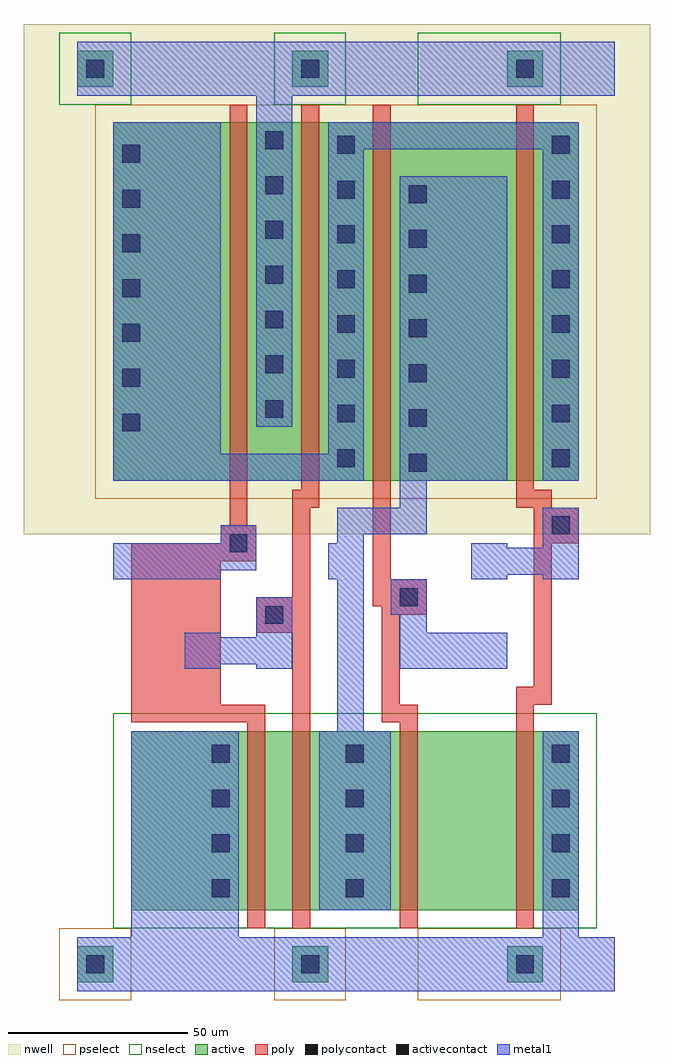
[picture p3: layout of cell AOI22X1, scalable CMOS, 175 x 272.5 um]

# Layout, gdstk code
import gdstk
lib = gdstk.Library(unit=1e-6, precision=1e-09)
def R(c, l, rs):  # rectangles x0, y0, x1, y1
    for r in rs: c.add(gdstk.rectangle(r[:2], r[2:], *l))
def A(c, l, x, y, w, h, nx, ny, dx, dy):  # array of equal rectangles
    R(c, l, [(x+i*dx, y+j*dy, x+i*dx+w, y+j*dy+h) for i in range(nx) for j in range(ny)])
nwell = (42, 0)
active = (43, 0)
pselect = (44, 0)
nselect = (45, 0)
poly = (46, 0)
polycontact = (47, 0)
activecontact = (48, 0)
metal1 = (49, 0)

aoi22x1 = lib.new_cell('AOI22X1')
R(aoi22x1, nwell, [(-20,120,155,262.5)])
A(aoi22x1, active, -5, -5, 10, 10, 3, 2, 60, 250)
R(aoi22x1, active, [(10,15,135,65), (5,135,135,235)])
R(aoi22x1, pselect, [(-10,-10,10,10), (50,-10,70,10), (90,-10,130,10), (0,130,140,240)])
R(aoi22x1, nselect, [(5,10,140,70), (-10,240,10,260), (50,240,70,260), (90,240,130,260)])
R(aoi22x1, poly, [(42.5,10,47.5,67.5), (55,10,60,92.5), (85,10,90,67.5), (117.5,10,122.5,72.5), (10,67.5,47.5,72.5), (80,67.5,90,72.5), (10,72.5,35,112.5), (80,72.5,85,97.5), (117.5,72.5,127.5,77.5), (122.5,77.5,127.5,117.5), (45,92.5,60,102.5), (80,97.5,92.5,100), (77.5,100,92.5,107.5), (55,102.5,60,127.5), (77.5,107.5,82.5,240), (10,112.5,45,117.5), (35,117.5,45,122.5), (122.5,117.5,135,127.5), (37.5,122.5,42.5,240), (55,127.5,62.5,132.5), (117.5,127.5,127.5,132.5), (57.5,132.5,62.5,240), (117.5,132.5,122.5,240)])
R(aoi22x1, polycontact, [(47.5,95,52.5,100), (85,100,90,105), (37.5,115,42.5,120), (127.5,120,132.5,125)])
A(aoi22x1, activecontact, -2.5, -2.5, 5, 5, 3, 2, 60, 250)
A(aoi22x1, activecontact, 32.5, 18.75, 5, 5, 1, 4, 0, 12.5)
A(aoi22x1, activecontact, 70, 18.75, 5, 5, 1, 4, 0, 12.5)
A(aoi22x1, activecontact, 127.5, 18.75, 5, 5, 1, 4, 0, 12.5)
A(aoi22x1, activecontact, 87.5, 137.5, 5, 5, 1, 7, 0, 12.5)
A(aoi22x1, activecontact, 67.5, 138.75, 5, 5, 1, 8, 0, 12.5)
A(aoi22x1, activecontact, 127.5, 138.75, 5, 5, 1, 8, 0, 12.5)
A(aoi22x1, activecontact, 7.5, 148.75, 5, 5, 1, 7, 0, 12.5)
A(aoi22x1, activecontact, 47.5, 152.5, 5, 5, 1, 7, 0, 12.5)
R(aoi22x1, metal1, [(-5,-7.5,145,7.5), (10,7.5,40,65), (125,7.5,135,65), (62.5,15,82.5,65), (67.5,65,75,107.5), (25,82.5,35,92.5), (45,82.5,55,102.5), (85,82.5,115,92.5), (26.25,83.75,53.75,91.25), (85,92.5,92.5,97.5), (82.5,97.5,92.5,107.5), (5,107.5,35,110), (65,107.5,75,117.5), (105,107.5,115,117.5), (125,107.5,135,127.5), (106.25,108.75,133.75,116.25), (5,110,45,117.5), (35,117.5,45,122.5), (67.5,117.5,75,120), (67.5,120,92.5,127.5), (85,127.5,92.5,135), (5,135,75,142.5), (85,135,115,220), (125,135,135,227.5), (5,142.5,35,235), (65,142.5,75,227.5), (45,150,55,242.5), (65,227.5,135,235), (-5,242.5,145,257.5)])

lib.write_gds('AOI22X1.gds')
